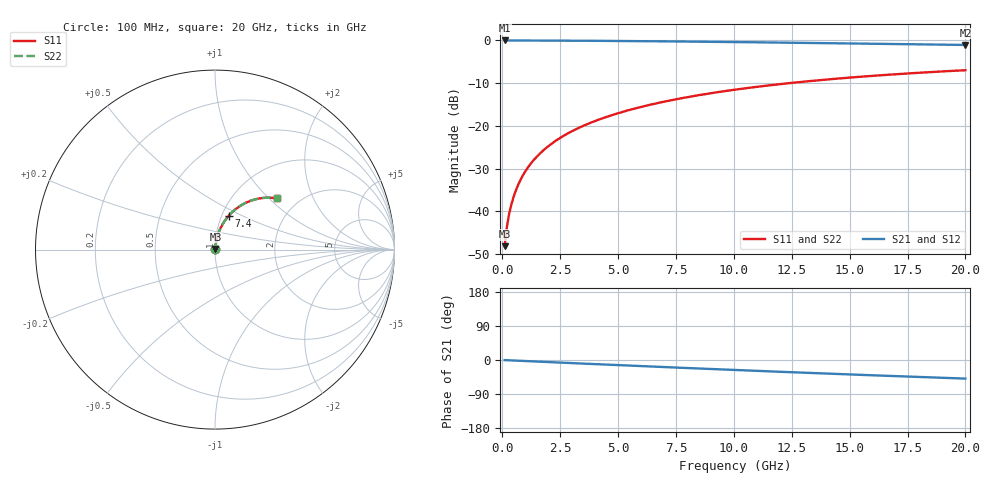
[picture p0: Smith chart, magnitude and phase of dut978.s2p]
! Touchstone file exported from HFSS 2026.1.0
!  File:  C:/ffzhzh/LocalFiles/Ansys_Project_Files/temp_train_BSMRDL_978_1783172717_51560.aedt
!  Generated:  09:46:35 PM Jul  4, 2026
!  Design:  BSMRDL
!  Project:  temp_train_BSMRDL_978_1783172717_51560
! Variables:
!  h_bsmrdl = 5.23um
!  h_ox = 20um
!  h_rdl = 5um
!  h_sub = 80um
!  h_tmrdl = 5um
!  h_tsv = 80um
!  h_via = 3um
!  l_bsmrdl = 728.25um
!  l_sub = 1128.25um
!  l_tmrdl = 200um
!  m_sub = 200um
!  pitch = 56.51um
!  r_tsv = 6um
!  s_tmrdl = 10um
!  w_bsmrdl = 22.67um
!  w_sub = 500um
!  w_tmrdl = 12um
!  x_tsv_center1 = 206um
!  x_tsv_center2 = 956.92um
!  x_tsv_center3 = 1168.92um
!  x_tsv_center4 = 1919.84um
!  x_tsv_center5 = 2131.84um
!  x_tsv_center6 = 2882.76um
# GHz S MA R 50.000000
! Terminal data exported
! Port[1] = BSM_RDL1_1_T1
! Port[2] = BSM_RDL1_1_T2
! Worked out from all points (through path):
!   200 points, 100 MHz to 20 GHz, reference 50 ohm
!   highest |S21| = -0.02 dB at 100 MHz (marker M1); lowest = -1.1 dB at 20 GHz (marker M2)
!   group delay of S21, straight-line fit = 6.82 ps
!   lowest |S11| = -48.2 dB at 100 MHz (marker M3), VSWR 1.01, Z = 50.2 + j0.313 ohm
!   |S11| at or under -10 dB: start of sweep to 12.42 GHz
!   |S22| runs from -48.2 to -7.0 dB; largest |S21 - S12| = 2e-14
!   S11 on the Smith chart (normalised r, x): 100 MHz: 1.00, +0.01; 7.4 GHz: 1.08, +0.42; 20 GHz: 1.57, +1.12
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0.1  0.003901 52.9  0.9977 -0.3  0.9977 -0.3  0.003901 52.9
! Gamma 0 0 0 0
! Port Impedance 50 0 50 0
0.2  0.006618 67.3  0.9975 -0.6  0.9975 -0.6  0.006618 67.3
0.3  0.009427 73.0  0.9973 -0.8  0.9973 -0.8  0.009427 73.0
0.4  0.01225 76.1  0.9972 -1.1  0.9972 -1.1  0.01225 76.1
0.5  0.0151 78.0  0.9971 -1.4  0.9971 -1.4  0.0151 78.0
0.7  0.02082 80.1  0.9969 -1.9  0.9969 -1.9  0.02082 80.1
0.8  0.02369 80.6  0.9968 -2.2  0.9968 -2.2  0.02369 80.6
1  0.02944 81.3  0.9965 -2.8  0.9965 -2.8  0.02944 81.3
1.2  0.0352 81.5  0.9962 -3.3  0.9962 -3.3  0.0352 81.5
1.4  0.04094 81.5  0.9959 -3.9  0.9959 -3.9  0.04094 81.5
1.7  0.04954 81.3  0.9953 -4.7  0.9953 -4.7  0.04954 81.3
2  0.05809 80.8  0.9946 -5.5  0.9946 -5.5  0.05809 80.8
2.7  0.07783 79.4  0.9927 -7.4  0.9927 -7.4  0.07783 79.4
3.5  0.1 77.6  0.99 -9.5  0.99 -9.5  0.1 77.6
4.2  0.119 75.9  0.9873 -11.4  0.9873 -11.4  0.119 75.9
5  0.1404 74.0  0.9839 -13.5  0.9839 -13.5  0.1404 74.0
6.8  0.1869 69.6  0.975 -18.2  0.975 -18.2  0.1869 69.6
7.4  0.2019 68.1  0.9717 -19.7  0.9717 -19.7  0.2019 68.1
10.1  0.266 61.6  0.9552 -26.5  0.9552 -26.5  0.266 61.6
13.4  0.3362 53.9  0.9321 -34.4  0.9321 -34.4  0.3362 54.0
16.7  0.3966 46.6  0.9078 -42.0  0.9078 -42.0  0.3966 46.6
20  0.4474 39.6  0.8838 -49.1  0.8838 -49.1  0.4474 39.6
